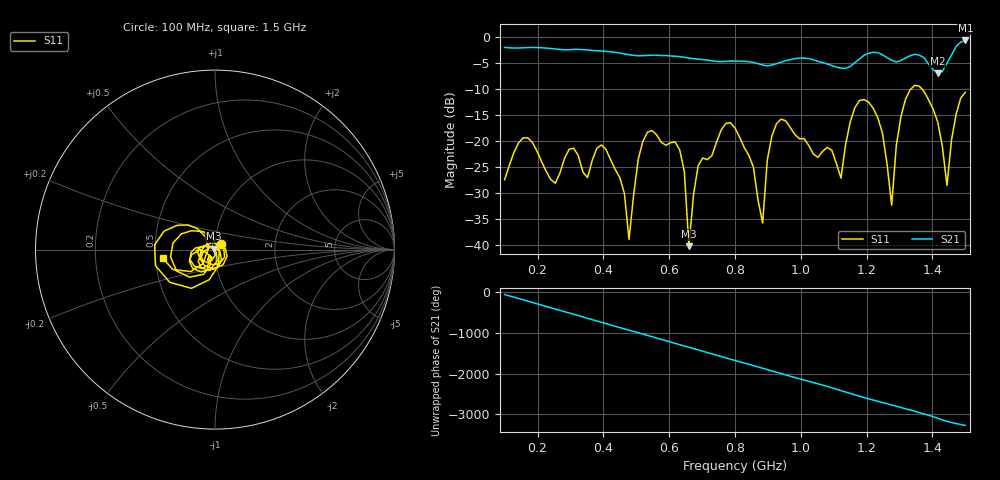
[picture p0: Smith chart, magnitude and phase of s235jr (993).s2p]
! NanoVNA-App
! Date: 2025-09-25 15:11:54
! Start: 100MHz Stop: 1,5GHz Points: 101
! S-Parameter data: F S11 S21 S12 S22
# Hz S RI R 50
!  Frequency  S11_Real  S11_Imag  S21_Real  S21_Imag  S12_Real  S12_Imag  S22_Real  S22_Imag
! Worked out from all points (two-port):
!   101 points, 100 MHz to 1.5 GHz, reference 50 ohm
!   highest |S21| = -0.63 dB at 1.5 GHz (marker M1); lowest = -6.9 dB at 1.416 GHz (marker M2)
!   |S21| within 3 dB of the highest: start of sweep to 606.4 MHz; 1.189 GHz to 1.254 GHz (65.12 MHz wide, 5.33 % of centre) (the widest 2 of 4)
!   lowest |S11| = -40.3 dB at 660 MHz (marker M3), VSWR 1.02, Z = 49.2 + j0.551 ohm
!   |S11| at or under -10 dB: start of sweep to 1.334 GHz; 1.368 GHz to end of sweep
!   S12 and S22 are empty: the file has one direction only
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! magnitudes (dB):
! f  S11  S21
! 100 MHz  -27.5  -2.0
! 156 MHz  -19.4  -2.0
! 338 MHz  -26.0  -2.4
! 408 MHz  -21.6  -2.7
! 478 MHz  -39.0  -3.4
! 520 MHz  -20.1  -3.6
! 576 MHz  -20.2  -3.5
! 632 MHz  -21.7  -3.7
! 660 MHz  -40.3  -4.0
! 688 MHz  -24.7  -4.2
! 800 MHz  -17.5  -4.6
! 884 MHz  -35.8  -5.3
! 926 MHz  -16.7  -5.1
! 1.038 GHz  -22.5  -4.4
! 1.122 GHz  -27.1  -6.0
! 1.164 GHz  -13.6  -4.9
! 1.206 GHz  -12.5  -3.1
! 1.276 GHz  -32.4  -4.5
! 1.332 GHz  -10.1  -3.6
! 1.416 GHz  -16.3  -6.9
! 1.444 GHz  -28.5  -5.0
! 1.5 GHz  -10.6  -0.6
